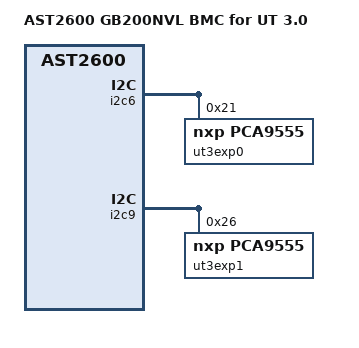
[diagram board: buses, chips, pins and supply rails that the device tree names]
// SPDX-License-Identifier: GPL-2.0+
/dts-v1/;

#include "aspeed-bmc-nvidia-gb200nvl-bmc.dts"

/ {
    model = "AST2600 GB200NVL BMC for UT 3.0";
    compatible = "aspeed,ast2600";
};

// I2C9 GPIO Expanders
&i2c6 {
    /* Module 0 for UT 3.0, Expander @0x4e */
    ut3exp0: pca9555@21 {
 		compatible = "nxp,pca9555";
 		reg = <0x21>;
		gpio-controller;
		#gpio-cells = <2>;
        #address-cells = <1>;
        #size-cells = <0>;

        gpio-line-names =
            "D1_BMC_SELF_PWR_CYCLE-O", "", "", "", "", "", "", "",
            "", "", "", "", "", "", "", "";
    };
};

&i2c9 {
    /* Module 1 for UT 3.0, Expander @0x4e */
    ut3exp1: pca9555@26 {
 		compatible = "nxp,pca9555";
 		reg = <0x26>;
		gpio-controller;
		#gpio-cells = <2>;
        #address-cells = <1>;
        #size-cells = <0>;

        gpio-line-names =
            "D1_BMC_PCIe_MUX_SEL-O",
            "D1_U0_CLK_ASW_SEL-O",
            "D1_B2B_STBY_POWER_EN-I",
            "D1_B2B_FPGA_RST_L_B2B-I",
            "D1_B2B_FPGA_READY_B2B-I",
            "D1_PDB_12V_2_PG-O",
            "D1_FIO_IOB_IOEXP_INT_L-I",
            "D1_FIO_MODULE_PWR_PG-I",
            "", "", "", "", "", "", "", "";
 	};
};

